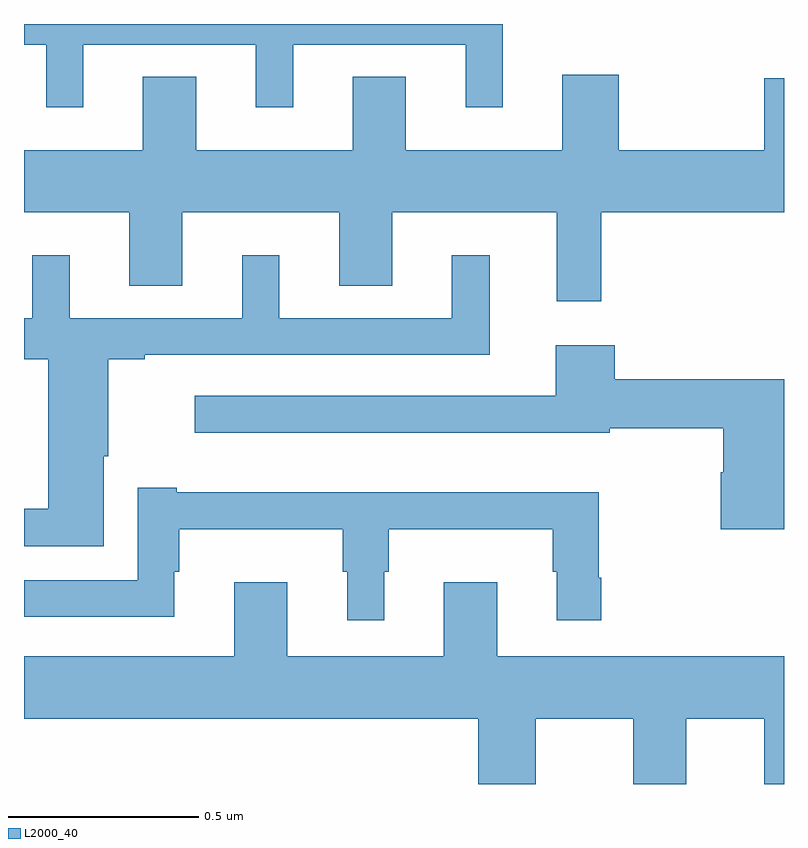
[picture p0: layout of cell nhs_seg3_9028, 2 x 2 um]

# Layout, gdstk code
import gdstk
lib = gdstk.Library(unit=1e-6, precision=1e-09)
def P(c, l, *ps):  # polygons
    for p in ps: c.add(gdstk.Polygon(p, *l))
L2000_40 = (2000, 40)

nhs_seg3_9028 = lib.new_cell('nhs_seg3_9028')
P(nhs_seg3_9028, L2000_40, [(223.156,713.346),(223.61,713.346),(223.61,713.181),(223.708,713.181),(223.708,713.346),(224.162,713.346),(224.162,713.181),(224.26,713.181),(224.26,713.4),(223,713.4),(223,713.346),(223.058,713.346),(223.058,713.181),(223.156,713.181)],
  [(224.519,712.904),(225,712.904),(225,713.257),(224.948,713.257),(224.948,713.068),(224.565,713.068),(224.565,713.266),(224.417,713.266),(224.417,713.068),(224.005,713.068),(224.005,713.261),(223.865,713.261),(223.865,713.068),(223.453,713.068),(223.453,713.261),(223.313,713.261),(223.313,713.068),(223,713.068),(223,712.904),(223.277,712.904),(223.277,712.711),(223.417,712.711),(223.417,712.904),(223.829,712.904),(223.829,712.711),(223.969,712.711),(223.969,712.904),(224.402,712.904),(224.402,712.671),(224.519,712.671)],
  [(223.21,712.263),(223.222,712.263),(223.222,712.518),(223.318,712.518),(223.318,712.53),(224.225,712.53),(224.225,712.792),(224.126,712.792),(224.126,712.626),(223.672,712.626),(223.672,712.792),(223.574,712.792),(223.574,712.626),(223.12,712.626),(223.12,712.792),(223.022,712.792),(223.022,712.626),(223,712.626),(223,712.518),(223.064,712.518),(223.064,712.124),(223,712.124),(223,712.026),(223.21,712.026)],
  [(225,712.465),(224.555,712.465),(224.555,712.555),(224.399,712.555),(224.399,712.422),(223.449,712.422),(223.449,712.325),(224.542,712.325),(224.542,712.336),(224.84,712.336),(224.84,712.221),(224.833,712.221),(224.833,712.071),(225,712.071)],
  [(223.948,711.959),(223.96,711.959),(223.96,712.07),(224.391,712.07),(224.391,711.959),(224.402,711.959),(224.402,711.831),(224.519,711.831),(224.519,711.943),(224.512,711.943),(224.512,712.168),(223.402,712.168),(223.402,712.18),(223.299,712.18),(223.299,711.936),(223,711.936),(223,711.84),(223.396,711.84),(223.396,711.959),(223.408,711.959),(223.408,712.07),(223.839,712.07),(223.839,711.959),(223.85,711.959),(223.85,711.831),(223.948,711.831)],
  [(224.347,711.572),(224.603,711.572),(224.603,711.4),(224.743,711.4),(224.743,711.572),(224.948,711.572),(224.948,711.4),(225,711.4),(225,711.736),(224.245,711.736),(224.245,711.931),(224.105,711.931),(224.105,711.736),(223.693,711.736),(223.693,711.931),(223.553,711.931),(223.553,711.736),(223,711.736),(223,711.572),(224.195,711.572),(224.195,711.4),(224.347,711.4)])

lib.write_gds('nhs_seg3_9028.gds')
